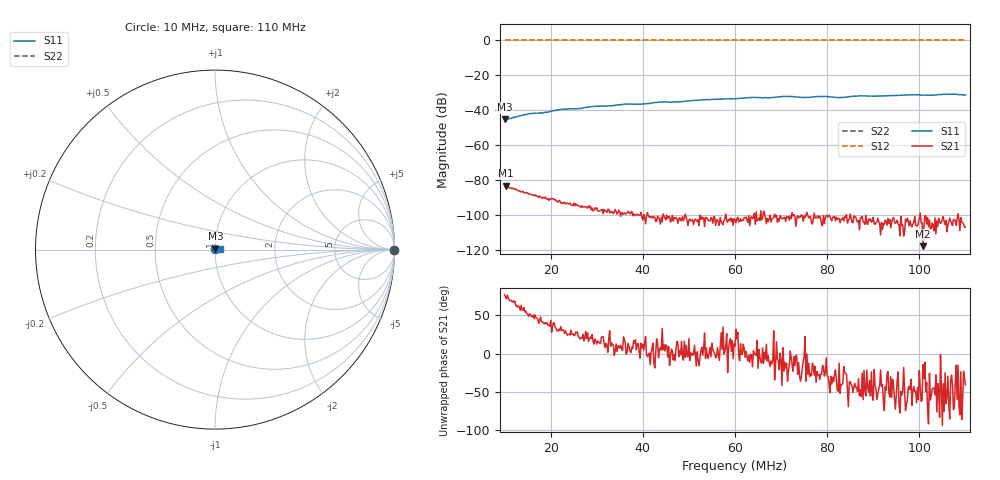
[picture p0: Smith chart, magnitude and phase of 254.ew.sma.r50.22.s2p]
! Anritsu VNA Master:  Model: MS2036C/10/77
! SN:  1601066
! /card0/usr/254.ew.sma.r50.22.s2p
! Existing Calibration Information:
! TYPE:  Current Settings,  Active Cal Settings
! TIME:  12/20/2017 01:10:04 PM,  12/20/2017 12:55:07 PM
! INTERNAL TEMP:  44.3 C,  44.3 C
! # POINTS:  501,  501
! START FREQ:  10.000 MHz,  10.000 MHz
! STOP FREQ:  110.000 MHz,  110.000 MHz
! SOURCE POWER:  High,  High
! IFBW:  100 Hz,  100 Hz
! AVG FACTOR:  1 ,  1
! REF PLANE 1:  0 mm,  0 mm
! REF PLANE 2:  0 mm,  0 mm
! CAL TYPE:  Full S11,  Full S11
! CAL METHOD:  SOLT,  SOLT
! CAL LINE TYPE:  Coax,  Coax
! DUT PORT 1:  N-Conn(F),  N-Conn(F)
! DUT PORT 2:  K-Conn(F),  K-Conn(F)
! CAL STATUS:  OK: Accuracy High,  --
# GHZ S DB R 50.0
! FREQ.GHZ  S11DB  S11A  S21DB  S21A  S12DB  S12A  S22DB  S22A
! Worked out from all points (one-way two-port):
!   501 points, 10 MHz to 110 MHz, reference 50 ohm
!   highest |S21| = -83.15 dB at 10.2 MHz (marker M1); lowest = -117.9 dB at 100.8 MHz (marker M2)
!   lowest |S11| = -45.1 dB at 10 MHz (marker M3), VSWR 1.01, Z = 50.2 + j0.515 ohm
!   |S11| at or under -10 dB: start of sweep to end of sweep
!   |S22| runs from 0.0 to 0.0 dB; largest |S21 - S12| = 1
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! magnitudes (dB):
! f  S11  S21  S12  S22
! 10 MHz  -45.1  -83.3  0.0  0.0
! 10.2 MHz  -44.9  -83.1  0.0  0.0
! 15.4 MHz  -41.9  -88.1  0.0  0.0
! 19.2 MHz  -41.1  -90.8  0.0  0.0
! 22.2 MHz  -39.6  -93.1  0.0  0.0
! 26.8 MHz  -38.8  -94.7  0.0  0.0
! 30 MHz  -37.7  -95.9  0.0  0.0
! 36.6 MHz  -36.5  -98.7  0.0  0.0
! 40.4 MHz  -36.4  -101.5  0.0  0.0
! 43.4 MHz  -35.4  -101.6  0.0  0.0
! 60 MHz  -33.4  -102.7  0.0  0.0
! 67.6 MHz  -32.8  -100.2  0.0  0.0
! 70.8 MHz  -32.1  -101.4  0.0  0.0
! 75 MHz  -32.6  -100.4  0.0  0.0
! 76.8 MHz  -32.4  -105.2  0.0  0.0
! 79.2 MHz  -32.1  -100.2  0.0  0.0
! 82.6 MHz  -32.7  -102.0  0.0  0.0
! 87 MHz  -31.8  -108.5  0.0  0.0
! 93.4 MHz  -31.7  -104.9  0.0  0.0
! 100.8 MHz  -31.3  -117.9  0.0  0.0
! 107 MHz  -30.8  -104.6  0.0  0.0
! 110 MHz  -31.3  -106.8  0.0  0.0
